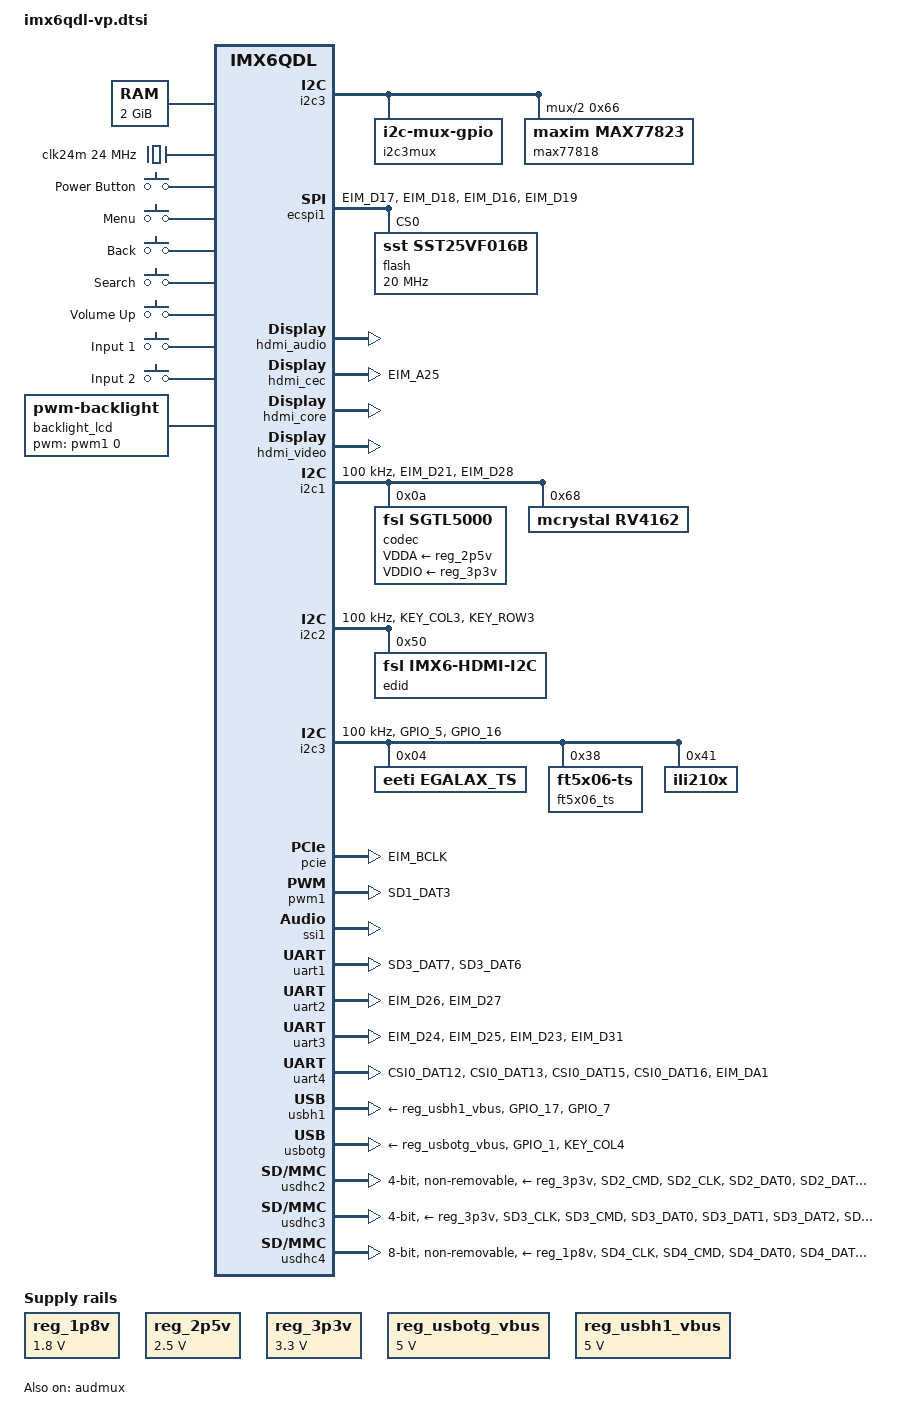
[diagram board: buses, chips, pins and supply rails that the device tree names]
/*
 * Copyright 2013 Boundary Devices
 * Copyright 2012 Freescale Semiconductor, Inc.
 * Copyright 2011 Linaro Ltd.
 *
 * The code contained herein is licensed under the GNU General Public
 * License. You may obtain a copy of the GNU General Public License
 * Version 2 or later at the following locations:
 *
 * http://www.opensource.org/licenses/gpl-license.html
 * http://www.gnu.org/copyleft/gpl.html
 */
#include <dt-bindings/gpio/gpio.h>
#include <dt-bindings/input/input.h>

/ {
	aliases {
		backlight_lcd = &backlight_lcd;
		fb_hdmi = &fb_hdmi;
		fb_lcd = &fb_lcd;
		lcd = &lcd;
		mmc0 = &usdhc3;
		mmc1 = &usdhc4;
		mmc2 = &usdhc2;
		mxcfb0 = &fb_hdmi;
		mxcfb1 = &fb_lcd;
		pwm_lcd = &pwm1;
	};

	memory {
		reg = <0x10000000 0x80000000>;
	};

	clocks {
		clk24m: clk24m {
			compatible = "fixed-clock";
			#clock-cells = <0>;
			clock-frequency = <24000000>;
		};
	};

	regulators {
		compatible = "simple-bus";

		reg_1p8v: 1p8v {
			compatible = "regulator-fixed";
			regulator-name = "1P8V";
			regulator-min-microvolt = <1800000>;
			regulator-max-microvolt = <1800000>;
			regulator-always-on;
		};

		reg_2p5v: 2p5v {
			compatible = "regulator-fixed";
			regulator-name = "2P5V";
			regulator-min-microvolt = <2500000>;
			regulator-max-microvolt = <2500000>;
			regulator-always-on;
		};

		reg_3p3v: 3p3v {
			compatible = "regulator-fixed";
			regulator-name = "3P3V";
			regulator-min-microvolt = <3300000>;
			regulator-max-microvolt = <3300000>;
			regulator-always-on;
		};

		reg_usbotg_vbus: usbotg_vbus {
			compatible = "regulator-fixed";
			regulator-name = "usb_otg_vbus";
			regulator-min-microvolt = <5000000>;
			regulator-max-microvolt = <5000000>;
		};

		reg_usbh1_vbus: usbh1_vbus {
			compatible = "regulator-fixed";
			regulator-name = "usb_h1_vbus";
			regulator-min-microvolt = <5000000>;
			regulator-max-microvolt = <5000000>;
		};
	};

	gpio_keys: gpio_keysgrp {
		compatible = "gpio-keys";
	};

	sound_sgtl5000: sound_sgtl5000 {
		compatible = "fsl,imx6q-vp-sgtl5000",
			     "fsl,imx-audio-sgtl5000";
		model = "imx6q-vp-sgtl5000";
		ssi-controller = <&ssi1>;
		audio-codec = <&codec>;
		audio-routing =
			"MIC_IN", "Mic Jack",
			"Mic Jack", "Mic Bias",
			"LINE_IN", "Line In Jack",
			"Headphone Jack", "HP_OUT",
			"Line Out Jack", "LINE_OUT";
		mux-int-port = <1>;
		mux-ext-port = <3>;
	};
	sound-hdmi {
		compatible = "fsl,imx6q-audio-hdmi",
			     "fsl,imx-audio-hdmi";
		model = "imx-audio-hdmi";
		hdmi-controller = <&hdmi_audio>;
	};

	fb_hdmi: fb@0 {
		compatible = "fsl,mxc_sdc_fb";
		disp_dev = "hdmi";
		interface_pix_fmt = "RGB24";
		mode_str ="1920x1080M@60";
		default_bpp = <24>;
		int_clk = <0>;
		late_init = <0>;
		status = "disabled";
	};

	fb_lcd: fb@1 {
		compatible = "fsl,mxc_sdc_fb";
		disp_dev = "lcd";
		interface_pix_fmt = "RGB24";
		mode_str ="480x272MR@60";
		default_bpp = <24>;
		int_clk = <0>;
		late_init = <0>;
		status = "disabled";
	};

	lcd: lcd@0 {
		compatible = "fsl,lcd";
		ipu_id = <0>;
		disp_id = <0>;
		default_ifmt = "RGB565";
		pinctrl-names = "default";
		pinctrl-0 = <&pinctrl_ipu1_di0>;
		status = "okay";
	};

	backlight_lcd: backlight_lcd {
		brightness-levels = <0 1 2 3 4 5 6 7 8 9 10>;
		compatible = "pwm-backlight";
		default-brightness-level = <10>;
		display = <&fb_lcd>;
		pwms = <&pwm1 0 50000>;
	};

	v4l2_out {
		compatible = "fsl,mxc_v4l2_output";
		status = "okay";
	};

	i2c3mux: i2c3muxgrp {
		compatible = "i2c-mux-gpio";
	};

	uart4_gps_rfkill: uart4_gps_rfkill {
		compatible = "net,rfkill-gpio";
	};

	wlan_bt_rfkill: wlan_bt_rfkillgrp {
		compatible = "net,rfkill-gpio";
	};
};

&iomuxc {
	pinctrl-names = "default";
	pinctrl-0 = <&pinctrl_hog>;

	iomuxc_imx6q_vp: iomuxc-imx6q-vpgrp {
		status = "okay";
	};
};

&iomuxc_imx6q_vp {
	pinctrl_hog: hoggrp {
		fsl,pins = <
	/* Main power on, high shuts down system */
#define GP_MAIN_POWER_EN		<&gpio1 19 GPIO_ACTIVE_LOW>
			MX6QDL_PAD_SD1_DAT2__GPIO1_IO19		0x030b0
#define GP_LED_BLUE			<&gpio2 24 GPIO_ACTIVE_HIGH>
			MX6QDL_PAD_EIM_CS1__GPIO2_IO24		0x0b0b0
		>;
	};

	pinctrl_audmux3: audmux3grp {
		fsl,pins = <
			MX6QDL_PAD_CSI0_DAT7__AUD3_RXD  0x130b0
			MX6QDL_PAD_CSI0_DAT4__AUD3_TXC  0x130b0
			MX6QDL_PAD_CSI0_DAT5__AUD3_TXD  0x110b0
			MX6QDL_PAD_CSI0_DAT6__AUD3_TXFS 0x130b0
		>;
	};

	pinctrl_ecspi1: ecspi1grp {
		fsl,pins = <
			MX6QDL_PAD_EIM_D17__ECSPI1_MISO		0x100b1
			MX6QDL_PAD_EIM_D18__ECSPI1_MOSI		0x100b1
			MX6QDL_PAD_EIM_D16__ECSPI1_SCLK		0x100b1
#define GP_ECSPI1_NOR_CS		<&gpio3 19 GPIO_ACTIVE_LOW>
			MX6QDL_PAD_EIM_D19__GPIO3_IO19		0x000b1	/* CS */
		>;
	};

	pinctrl_gpiokeys: gpiokeysgrp {
		fsl,pins = <
#define GP_MAIN_POWER_BUTTON		<&gpio1 2 GPIO_ACTIVE_LOW>
			MX6QDL_PAD_GPIO_2__GPIO1_IO02		0x0b0b0
#define GP_MENU				<&gpio2 1 GPIO_ACTIVE_LOW>
			MX6QDL_PAD_NANDF_D1__GPIO2_IO01		0x0b0b0
#define GP_BACK				<&gpio4 5 GPIO_ACTIVE_LOW>
			MX6QDL_PAD_GPIO_19__GPIO4_IO05		0x0b0b0
#define GP_SEARCH			<&gpio2 3 GPIO_ACTIVE_LOW>
			MX6QDL_PAD_NANDF_D3__GPIO2_IO03		0x0b0b0
#define GP_VOLUME_UP			<&gpio7 13 GPIO_ACTIVE_LOW>
			MX6QDL_PAD_GPIO_18__GPIO7_IO13		0x0b0b0
#define GP_INPUT1			<&gpio4 8 GPIO_ACTIVE_LOW>
			MX6QDL_PAD_KEY_COL1__GPIO4_IO08		0x0b0b0
#define GP_INPUT2			<&gpio4 9 GPIO_ACTIVE_LOW>
			MX6QDL_PAD_KEY_ROW1__GPIO4_IO09		0x0b0b0
		>;
	};

	pinctrl_hdmi_cec: hdmi_cecgrp {
		fsl,pins = <
			MX6QDL_PAD_EIM_A25__HDMI_TX_CEC_LINE 0x1f8b0
		>;
	};

	pinctrl_i2c1: i2c1grp {
		fsl,pins = <
			MX6QDL_PAD_EIM_D21__I2C1_SCL	0x4001b8b1
			MX6QDL_PAD_EIM_D28__I2C1_SDA	0x4001b8b1
		>;
	};

	pinctrl_i2c2: i2c2grp {
		fsl,pins = <
			MX6QDL_PAD_KEY_COL3__I2C2_SCL	0x4001b8b1
			MX6QDL_PAD_KEY_ROW3__I2C2_SDA	0x4001b8b1
		>;
	};

	pinctrl_i2c3: i2c3grp {
		fsl,pins = <
			MX6QDL_PAD_GPIO_5__I2C3_SCL	0x4001b8b1
			MX6QDL_PAD_GPIO_16__I2C3_SDA	0x4001b8b1
		>;
	};

	pinctrl_i2c3mux: i2c3muxgrp {
		fsl,pins = <
#define GP_I2C3_PCIE_EN			<&gpio2 25 GPIO_ACTIVE_HIGH>
			MX6QDL_PAD_EIM_OE__GPIO2_IO25		0x0b0b0
#define GP_I2C3_MAX77818_EN		<&gpio3 2 GPIO_ACTIVE_HIGH>
			MX6QDL_PAD_EIM_DA2__GPIO3_IO02		0x0b0b0
		>;
	};

	pinctrl_i2c3_max77818: i2c3_max77818grp {
		fsl,pins = <
#define GPIRQ_MAX77818_INOKB		<&gpio3 4 IRQ_TYPE_LEVEL_LOW>
			MX6QDL_PAD_EIM_DA4__GPIO3_IO04		0x1b0b0
#define GPIRQ_MAX77818_WCINOKB		<&gpio3 5 IRQ_TYPE_LEVEL_LOW>
			MX6QDL_PAD_EIM_DA5__GPIO3_IO05		0x1b0b0
#define GPIRQ_MAX77818_INTB		<&gpio3 6 IRQ_TYPE_LEVEL_LOW>
			MX6QDL_PAD_EIM_DA6__GPIO3_IO06		0x1b0b0
		>;
	};

	pinctrl_i2c3_touchscreen: i2c3_touchscreengrp {
		fsl,pins = <
#define GP_TOUCH_RESET	<&gpio2 22 GPIO_ACTIVE_LOW>
			MX6QDL_PAD_EIM_A16__GPIO2_IO22		0x0b0b0
#define GPIRQ_TOUCH			<&gpio2 27 IRQ_TYPE_LEVEL_LOW>
#define GP_TOUCH			<&gpio2 27 GPIO_ACTIVE_LOW>
			MX6QDL_PAD_EIM_LBA__GPIO2_IO27		0x1b0b0
		>;
	};

	pinctrl_ipu1_di0: ipu1_di0grp {
		fsl,pins = <
			MX6QDL_PAD_DI0_DISP_CLK__IPU1_DI0_DISP_CLK 0x10
			MX6QDL_PAD_DI0_PIN15__IPU1_DI0_PIN15       0x10		/* DRDY */
			MX6QDL_PAD_DI0_PIN2__IPU1_DI0_PIN02        0x10		/* HSYNC */
			MX6QDL_PAD_DI0_PIN3__IPU1_DI0_PIN03        0x10		/* VSYNC */
			MX6QDL_PAD_DI0_PIN4__IPU1_DI0_PIN04        0x10		/* Contrast */
			MX6QDL_PAD_DISP0_DAT0__IPU1_DISP0_DATA00   0x10
			MX6QDL_PAD_DISP0_DAT1__IPU1_DISP0_DATA01   0x10
			MX6QDL_PAD_DISP0_DAT2__IPU1_DISP0_DATA02   0x10
			MX6QDL_PAD_DISP0_DAT3__IPU1_DISP0_DATA03   0x10
			MX6QDL_PAD_DISP0_DAT4__IPU1_DISP0_DATA04   0x10
			MX6QDL_PAD_DISP0_DAT5__IPU1_DISP0_DATA05   0x10
			MX6QDL_PAD_DISP0_DAT6__IPU1_DISP0_DATA06   0x10
			MX6QDL_PAD_DISP0_DAT7__IPU1_DISP0_DATA07   0x10
			MX6QDL_PAD_DISP0_DAT8__IPU1_DISP0_DATA08   0x10
			MX6QDL_PAD_DISP0_DAT9__IPU1_DISP0_DATA09   0x10
			MX6QDL_PAD_DISP0_DAT10__IPU1_DISP0_DATA10  0x10
			MX6QDL_PAD_DISP0_DAT11__IPU1_DISP0_DATA11  0x10
			MX6QDL_PAD_DISP0_DAT12__IPU1_DISP0_DATA12  0x10
			MX6QDL_PAD_DISP0_DAT13__IPU1_DISP0_DATA13  0x10
			MX6QDL_PAD_DISP0_DAT14__IPU1_DISP0_DATA14  0x10
			MX6QDL_PAD_DISP0_DAT15__IPU1_DISP0_DATA15  0x10
			MX6QDL_PAD_DISP0_DAT16__IPU1_DISP0_DATA16  0x10
			MX6QDL_PAD_DISP0_DAT17__IPU1_DISP0_DATA17  0x10
			MX6QDL_PAD_DISP0_DAT18__IPU1_DISP0_DATA18  0x10
			MX6QDL_PAD_DISP0_DAT19__IPU1_DISP0_DATA19  0x10
			MX6QDL_PAD_DISP0_DAT20__IPU1_DISP0_DATA20  0x10
			MX6QDL_PAD_DISP0_DAT21__IPU1_DISP0_DATA21  0x10
			MX6QDL_PAD_DISP0_DAT22__IPU1_DISP0_DATA22  0x10
			MX6QDL_PAD_DISP0_DAT23__IPU1_DISP0_DATA23  0x10
			>;
		};

	pinctrl_pcie: pciegrp {
		fsl,pins = <
#define GP_PCIE_RESET			<&gpio6 31 GPIO_ACTIVE_LOW>
			MX6QDL_PAD_EIM_BCLK__GPIO6_IO31		0x0b0b0
		>;
	};

	pinctrl_pwm1: pwm1grp {
		fsl,pins = <
			MX6QDL_PAD_SD1_DAT3__PWM1_OUT		0x030b0
		>;
	};

	pinctrl_rv4162: rv4162grp {
		fsl,pins = <
#define GPIRQ_RTC_RV4162		<&gpio4 6 IRQ_TYPE_LEVEL_LOW>
			MX6QDL_PAD_KEY_COL0__GPIO4_IO06		0x1b0b0
		>;
	};

	pinctrl_sgtl5000: sgtl5000grp {
		fsl,pins = <
			MX6QDL_PAD_GPIO_0__CCM_CLKO1		0x000b0		/* sys_mclk */
#define GP_SGTL5000_MUTE		<&gpio1 29 GPIO_ACTIVE_LOW>
			MX6QDL_PAD_ENET_TXD1__GPIO1_IO29	0x030b0
#define GP_HEADPHONE_DET		<&gpio4 7 GPIO_ACTIVE_LOW>
			MX6QDL_PAD_KEY_ROW0__GPIO4_IO07		0x1b0b0
#define GP_LINE_IN_JACK_DETECT		<&gpio1 17 GPIO_ACTIVE_LOW>
			MX6QDL_PAD_SD1_DAT1__GPIO1_IO17		0x1b0b0
#define GP_MIC_DETECT			<&gpio7 8 GPIO_ACTIVE_LOW>
			MX6QDL_PAD_SD3_RST__GPIO7_IO08		0x1b0b0
		>;
	};

	pinctrl_uart1: uart1grp {
		fsl,pins = <
			MX6QDL_PAD_SD3_DAT7__UART1_TX_DATA	0x1b0b1
			MX6QDL_PAD_SD3_DAT6__UART1_RX_DATA	0x1b0b1
		>;
	};

	pinctrl_uart2: uart2grp {
		fsl,pins = <
			MX6QDL_PAD_EIM_D26__UART2_TX_DATA	0x1b0b1
			MX6QDL_PAD_EIM_D27__UART2_RX_DATA	0x1b0b1
		>;
	};

	pinctrl_uart3: uart3grp {
		/* Bluetooth */
		fsl,pins = <
			MX6QDL_PAD_EIM_D24__UART3_TX_DATA	0x1b0b1
			MX6QDL_PAD_EIM_D25__UART3_RX_DATA	0x1b0b1
			MX6QDL_PAD_EIM_D23__UART3_CTS_B		0x1b0b1
			MX6QDL_PAD_EIM_D31__UART3_RTS_B		0x1b0b1
		>;
	};

	pinctrl_uart4: uart4grp {
		/* GPS */
		fsl,pins = <
			MX6QDL_PAD_CSI0_DAT12__UART4_TX_DATA	0x1b0b1
			MX6QDL_PAD_CSI0_DAT13__UART4_RX_DATA	0x1b0b1
#define GP_GPS_IRQ			<&gpio6 1 IRQ_TYPE_LEVEL_LOW>
			MX6QDL_PAD_CSI0_DAT15__GPIO6_IO01	0x1b0b0
#define GP_GPS_HEARTBEAT		<&gpio6 2 GPIO_ACTIVE_LOW>
			MX6QDL_PAD_CSI0_DAT16__GPIO6_IO02	0x1b0b0
#define GP_GPS_ANT_ON			<&gpio3 1 GPIO_ACTIVE_HIGH>
			MX6QDL_PAD_EIM_DA1__GPIO3_IO01		0x0b0b0
		>;
	};

	pinctrl_uart4_gps_rfkill: uart4_gps_rfkillgrp {
		/* GPS */
		fsl,pins = <
#define GP_GPS_RESET			<&gpio6 0 GPIO_ACTIVE_LOW>
			MX6QDL_PAD_CSI0_DAT14__GPIO6_IO00	0x0b8b0
		>;
	};

	pinctrl_usbh1: usbh1grp {
		fsl,pins = <
#define GP_USB_HUB_RESET		<&gpio7 12 GPIO_ACTIVE_LOW>
			MX6QDL_PAD_GPIO_17__GPIO7_IO12		0x030b0
#define GP_5V_EN			<&gpio1 7 GPIO_ACTIVE_HIGH>		/* usb and hdmi 5v*/
			MX6QDL_PAD_GPIO_7__GPIO1_IO07		0x030b0
		>;
	};

	pinctrl_usbh1_vbus: usbh1_vbusgrp {
		fsl,pins = <
			/* power enable, high active */
#define GP_USB_DN1_PWR_EN		<&gpio1 4 GPIO_ACTIVE_HIGH>
			MX6QDL_PAD_GPIO_4__GPIO1_IO04		0x030b0
		>;
	};

	pinctrl_usbotg: usbotggrp {
		fsl,pins = <
			MX6QDL_PAD_GPIO_1__USB_OTG_ID	0x17059
			MX6QDL_PAD_KEY_COL4__USB_OTG_OC	0x1b0b0
		>;
	};

	pinctrl_usbotg_vbus: usbotg_vbusgrp {
		fsl,pins = <
			/* power enable, high active */
#define GP_USB_OTG_PWR		<&gpio3 22 GPIO_ACTIVE_HIGH>
			MX6QDL_PAD_EIM_D22__GPIO3_IO22  0x030b0
		>;
	};

	/* USDHC2:  Broadcom Wifi */
	pinctrl_usdhc2_50mhz: usdhc2_50mhzgrp {
		fsl,pins = <
			MX6QDL_PAD_SD2_CMD__SD2_CMD		0x17031
			MX6QDL_PAD_SD2_CLK__SD2_CLK		0x10031
			MX6QDL_PAD_SD2_DAT0__SD2_DATA0		0x17031
			MX6QDL_PAD_SD2_DAT1__SD2_DATA1		0x17031
			MX6QDL_PAD_SD2_DAT2__SD2_DATA2		0x17031
			MX6QDL_PAD_SD2_DAT3__SD2_DATA3		0x17031
#define GP_BRM_WL_WAKE_IRQ		<&gpio6 11 IRQ_TYPE_LEVEL_LOW>
			MX6QDL_PAD_NANDF_CS0__GPIO6_IO11	0x1b0b0
#define GP_BRM_CLOCK_REQUEST		<&gpio6 9 GPIO_ACTIVE_HIGH>
			MX6QDL_PAD_NANDF_WP_B__GPIO6_IO09	0x0b0b0
#define GP_BRM_WL_EN			<&gpio6 7 GPIO_ACTIVE_HIGH>
			MX6QDL_PAD_NANDF_CLE__GPIO6_IO07	0x0b0b0
			MX6QDL_PAD_SD1_CLK__OSC32K_32K_OUT	0x000b0		/* slow clock */
		>;
	};

	/* USDHC3 - micro sd */
	pinctrl_usdhc3_50mhz: usdhc3_50mhzgrp {
		fsl,pins = <
			MX6QDL_PAD_SD3_CLK__SD3_CLK		0x10031
			MX6QDL_PAD_SD3_CMD__SD3_CMD		0x17031
			MX6QDL_PAD_SD3_DAT0__SD3_DATA0		0x17031
			MX6QDL_PAD_SD3_DAT1__SD3_DATA1		0x17031
			MX6QDL_PAD_SD3_DAT2__SD3_DATA2		0x17031
			MX6QDL_PAD_SD3_DAT3__SD3_DATA3		0x17031
#define GP_SD3_CD			<&gpio7 0 GPIO_ACTIVE_LOW>
			MX6QDL_PAD_SD3_DAT5__GPIO7_IO00 0x1b0b0	/* CD */
		>;
	};

	pinctrl_usdhc3_100mhz: usdhc3_100mhzgrp {
		fsl,pins = <
			MX6QDL_PAD_SD3_CLK__SD3_CLK		0x100b9
			MX6QDL_PAD_SD3_CMD__SD3_CMD		0x170b9
			MX6QDL_PAD_SD3_DAT0__SD3_DATA0		0x170b9
			MX6QDL_PAD_SD3_DAT1__SD3_DATA1		0x170b9
			MX6QDL_PAD_SD3_DAT2__SD3_DATA2		0x170b9
			MX6QDL_PAD_SD3_DAT3__SD3_DATA3		0x170b9
		>;
	};

	pinctrl_usdhc3_200mhz: usdhc3_200mhzgrp {
		fsl,pins = <
			MX6QDL_PAD_SD3_CLK__SD3_CLK		0x100f9
			MX6QDL_PAD_SD3_CMD__SD3_CMD		0x170f9
			MX6QDL_PAD_SD3_DAT0__SD3_DATA0		0x170f9
			MX6QDL_PAD_SD3_DAT1__SD3_DATA1		0x170f9
			MX6QDL_PAD_SD3_DAT2__SD3_DATA2		0x170f9
			MX6QDL_PAD_SD3_DAT3__SD3_DATA3		0x170f9
		>;
	};

	pinctrl_usdhc4_50mhz: usdhc4_50mhzgrp {
		fsl,pins = <
			MX6QDL_PAD_SD4_CLK__SD4_CLK		0x10031
			MX6QDL_PAD_SD4_CMD__SD4_CMD		0x17031
			MX6QDL_PAD_SD4_DAT0__SD4_DATA0		0x17031
			MX6QDL_PAD_SD4_DAT1__SD4_DATA1		0x17031
			MX6QDL_PAD_SD4_DAT2__SD4_DATA2		0x17031
			MX6QDL_PAD_SD4_DAT3__SD4_DATA3		0x17031
			MX6QDL_PAD_SD4_DAT4__SD4_DATA4		0x17031
			MX6QDL_PAD_SD4_DAT5__SD4_DATA5		0x17031
			MX6QDL_PAD_SD4_DAT6__SD4_DATA6		0x17031
			MX6QDL_PAD_SD4_DAT7__SD4_DATA7		0x17031
#define GP_EMMC_RESET	<&gpio2 6 GPIO_ACTIVE_LOW>
			MX6QDL_PAD_NANDF_D6__GPIO2_IO06		0x1b0b0
		>;
	};

	pinctrl_usdhc4_100mhz: usdhc4_100mhzgrp {
		fsl,pins = <
			MX6QDL_PAD_SD4_CLK__SD4_CLK		0x100b9
			MX6QDL_PAD_SD4_CMD__SD4_CMD		0x170b9
			MX6QDL_PAD_SD4_DAT0__SD4_DATA0		0x170b9
			MX6QDL_PAD_SD4_DAT1__SD4_DATA1		0x170b9
			MX6QDL_PAD_SD4_DAT2__SD4_DATA2		0x170b9
			MX6QDL_PAD_SD4_DAT3__SD4_DATA3		0x170b9
			MX6QDL_PAD_SD4_DAT4__SD4_DATA4		0x170b9
			MX6QDL_PAD_SD4_DAT5__SD4_DATA5		0x170b9
			MX6QDL_PAD_SD4_DAT6__SD4_DATA6		0x170b9
			MX6QDL_PAD_SD4_DAT7__SD4_DATA7		0x170b9
		>;
	};

	pinctrl_usdhc4_200mhz: usdhc4_200mhzgrp {
		fsl,pins = <
			MX6QDL_PAD_SD4_CLK__SD4_CLK		0x100f9
			MX6QDL_PAD_SD4_CMD__SD4_CMD		0x170f9
			MX6QDL_PAD_SD4_DAT0__SD4_DATA0		0x170f9
			MX6QDL_PAD_SD4_DAT1__SD4_DATA1		0x170f9
			MX6QDL_PAD_SD4_DAT2__SD4_DATA2		0x170f9
			MX6QDL_PAD_SD4_DAT3__SD4_DATA3		0x170f9
			MX6QDL_PAD_SD4_DAT4__SD4_DATA4		0x170f9
			MX6QDL_PAD_SD4_DAT5__SD4_DATA5		0x170f9
			MX6QDL_PAD_SD4_DAT6__SD4_DATA6		0x170f9
			MX6QDL_PAD_SD4_DAT7__SD4_DATA7		0x170f9
		>;
	};

	pinctrl_wlan_bt_rfkill: wlan_bt_rfkillgrp {
		fsl,pins = <
#define GP_BRM_BT_RESET			<&gpio6 8 GPIO_ACTIVE_LOW>
			MX6QDL_PAD_NANDF_ALE__GPIO6_IO08	0x0b0b0		/* BT reset(Broadcom) */
#define GP_BRM_BT_SHUTDOWN		<&gpio6 15 GPIO_ACTIVE_LOW>
			MX6QDL_PAD_NANDF_CS2__GPIO6_IO15	0x030b0		/* BT reg en(Broadcom) */
#define GP_BRM_BT_WAKE_IRQ		<&gpio2 7 IRQ_TYPE_LEVEL_LOW>
			MX6QDL_PAD_NANDF_D7__GPIO2_IO07		0x1b0b0
#define GP_BRM_BT_WAKEUP		<&gpio6 16 GPIO_ACTIVE_HIGH>
			MX6QDL_PAD_NANDF_CS3__GPIO6_IO16	0x0f0b0
		>;
	};
};

&audmux {
	pinctrl-names = "default";
	pinctrl-0 = <&pinctrl_audmux3>;
	status = "okay";
};

&ecspi1 {
	fsl,spi-num-chipselects = <1>;
	cs-gpios = GP_ECSPI1_NOR_CS;
	pinctrl-names = "default";
	pinctrl-0 = <&pinctrl_ecspi1>;
	status = "okay";

	flash: m25p80@0 {
		compatible = "sst,sst25vf016b";
		spi-max-frequency = <20000000>;
		reg = <0>;
		#address-cells = <1>;
		#size-cells = <1>;
		mtd@00000000 {
			label = "U-Boot";
			reg = <0x0 0xC0000>;
		};

		mtd@000C0000 {
			label = "env";
			reg = <0xC0000 0x2000>;
		};
		mtd@000C2000 {
			label = "splash";
			reg = <0xC2000 0x13e000>;
		};
	};
};

&gpio_keys {
	pinctrl-names = "default";
	pinctrl-0 = <&pinctrl_gpiokeys>;
	power {
		label = "Power Button";
		gpios = GP_MAIN_POWER_BUTTON;
		linux,code = <KEY_POWER>;
		gpio-key,wakeup;
	};

	menu {
		label = "Menu";
		gpios = GP_MENU;
		linux,code = <KEY_MENU>;
	};

	back {
		label = "Back";
		gpios = GP_BACK;
		linux,code = <KEY_BACK>;
	};

	search {
		label = "Search";
		gpios = GP_SEARCH;
		linux,code = <KEY_SEARCH>;
	};

	volume-up {
		label = "Volume Up";
		gpios = GP_VOLUME_UP;
		linux,code = <KEY_VOLUMEUP>;
	};

	input1 {
		label = "Input 1";
		gpios = GP_INPUT1;
		linux,code = <KEY_VOLUMEUP>;
	};

	input2 {
		label = "Input 2";
		gpios = GP_INPUT2;
		linux,code = <KEY_VOLUMEDOWN>;
	};
};

&hdmi_audio {
	status = "okay";
};

&hdmi_cec {
	pinctrl-names = "default";
	pinctrl-0 = <&pinctrl_hdmi_cec>;
	status = "okay";
};

&hdmi_core {
	ipu_id = <1>;
	disp_id = <0>;
	status = "okay";
};

&hdmi_video {
	fsl,phy_reg_vlev = <0x0294>;
	fsl,phy_reg_cksymtx = <0x800d>;
	status = "okay";
};

&i2c1 {
	clock-frequency = <100000>;
	pinctrl-names = "default";
	pinctrl-0 = <&pinctrl_i2c1>;
	status = "okay";

	codec: sgtl5000@0a {
		compatible = "fsl,sgtl5000";
		pinctrl-names = "default";
		pinctrl-0 = <&pinctrl_sgtl5000>;
		reg = <0x0a>;
		clocks = <&clks IMX6QDL_CLK_CKO>;
		VDDA-supply = <&reg_2p5v>;
		VDDIO-supply = <&reg_3p3v>;
	};
	rv4162@68 {
		compatible = "mcrystal,rv4162";
		pinctrl-names = "default";
		pinctrl-0 = <&pinctrl_rv4162>;
		reg = <0x68>;
		interrupts-extended = GPIRQ_RTC_RV4162;
	};
};

&i2c2 {
	clock-frequency = <100000>;
	pinctrl-names = "default";
	pinctrl-0 = <&pinctrl_i2c2>;
	status = "okay";

	edid@50 {
		compatible = "fsl,imx6-hdmi-i2c";
		reg = <0x50>;
	};
};

&i2c3 {
        clock-frequency = <100000>;
        pinctrl-names = "default";
        pinctrl-0 = <&pinctrl_i2c3>;
        status = "okay";

        egalax_ts@04 {
                compatible = "eeti,egalax_ts";
                reg = <0x04>;
		interrupts-extended = GPIRQ_TOUCH;
		wakeup-gpios = GP_TOUCH;
        };

        ft5x06_ts@38 {
		compatible = "ft5x06-ts";
		reg = <0x38>;
		interrupts-extended = GPIRQ_TOUCH;
		wakeup-gpios = GP_TOUCH;
	};

        ili210x@41 {
		compatible = "ili210x";
		reg = <0x41>;
		interrupts-extended = GPIRQ_TOUCH;
		wakeup-gpios = GP_TOUCH;
	};
};

&i2c3mux {
	pinctrl-names = "default";
	pinctrl-0 = <&pinctrl_i2c3mux>;
	#address-cells = <1>;
	#size-cells = <0>;

	mux-gpios = GP_I2C3_PCIE_EN, GP_I2C3_MAX77818_EN;

	i2c-parent = <&i2c3>;
	idle-state = <0>;

	i2c3a: i2c3@1 {
		/* PCIe */
		reg = <1>;
		#address-cells = <1>;
		#size-cells = <0>;
	};

	i2c3b: i2c3@2 {
		/* MAX77818 */		
		reg = <2>;
		#address-cells = <1>;
		#size-cells = <0>;
	};
};

&i2c3b {
	max77818@66 {
		compatible = "maxim,max77823";
		pinctrl-names = "default";
		pinctrl-0 = <&pinctrl_i2c3_max77818>;
		reg = <0x66>;
		interrupts-extended = GPIRQ_MAX77818_INTB;
		max77823,irq-gpio = GPIRQ_MAX77818_INTB;
		max77823,wakeup = <1>;
		max77823_battery: battery {
			compatible = "samsung,sec-battery";
		};

		max77823_charger: charger {
			compatible = "samsung,max77823-charger";
		};

		max77823_fuelgauge: fuelgauge {
			compatible = "samsung,max77823-fuelgauge";
		};
	};
};

&max77823_battery {
	status = "okay";
	battery,vendor = "SDI SDI";
	battery,charger_name = "max77823-charger";
	battery,fuelgauge_name = "max77823-fuelgauge";
	battery,technology = <2>; /* POWER_SUPPLY_TECHNOLOGY_LION */
	battery,bat_irq_attr = <0x3>;

	battery,chip_vendor = "QCOM";
	battery,temp_adc_type = <1>; /* SEC_BATTERY_ADC_TYPE_AP */

	battery,polling_time = <10 30 30 30 3600>;

	battery,adc_check_count = <6>;

	/* SEC_BATTERY_CABLE_CHECK_PSY | SEC_BATTERY_CABLE_CHECK_NOINCOMPATIBLECHARGE */
	battery,cable_check_type = <6>;
	battery,cable_source_type = <1>; /* SEC_BATTERY_CABLE_SOURCE_EXTERNAL */
	battery,event_check;
	battery,event_waiting_time = <600>;
	battery,polling_type = <1>; /* SEC_BATTERY_MONITOR_ALARM */
	battery,monitor_initial_count = <3>;

	battery,battery_check_type = <6>; /* SEC_BATTERY_CHECK_INT */
	battery,check_count = <0>;
	battery,check_adc_max = <1440>;
	battery,check_adc_min = <0>;

	battery,ovp_uvlo_check_type = <3>; /* SEC_BATTERY_OVP_UVLO_CHGPOLLING */

	battery,thermal_source = <0>; /* SEC_BATTERY_THERMAL_SOURCE_FG */

	battery,temp_check_type = <2>; /* _BATTERY_TEMP_CHECK_TEMP */
	battery,temp_check_count = <1>;
	battery,full_check_type = <7>; /* SEC_BATTERY_FULLCHARGED_CHGPSY */
	battery,full_check_type_2nd = <3>; /* SEC_BATTERY_FULLCHARGED_TIME */
	battery,full_check_count = <1>;
	battery,chg_gpio_full_check = <0>;
	battery,chg_polarity_full_check = <1>;

	/* SEC_BATTERY_FULL_CONDITION_SOC |
	   SEC_BATTERY_FULL_CONDITION_NOTIMEFULL |
	   SEC_BATTERY_FULL_CONDITION_VCELL */
	battery,full_condition_type = <13>;
	battery,full_condition_soc = <97>;
	battery,full_condition_vcell = <4350000>;

	battery,recharge_check_count = <1>;
	battery,recharge_condition_type = <4>; /* SEC_BATTERY_RECHARGE_CONDITION_VCELL */
	battery,recharge_condition_soc = <98>;
	battery,recharge_condition_vcell = <4350000>;

	battery,charging_total_time = <21600>;
	battery,recharging_total_time = <5400>;
	battery,charging_reset_time = <0>;
};

&max77823_charger {
	battery,charger_name = "max77823-charger";
	battery,chg_gpio_en = <0>;
	battery,chg_polarity_en = <0>;
	battery,chg_gpio_status = <0>;
	battery,chg_polarity_status = <0>;
	battery,chg_float_voltage = <4400>;
	battery,ovp_uvlo_check_type = <3>; /* SEC_BATTERY_OVP_UVLO_CHGPOLLING */
	battery,full_check_type = <7>; /* SEC_BATTERY_FULLCHARGED_CHGPSY */

	battery,input_current_limit    = <1800 460  460 4000  460  900 1000  460 460 1000  760 1800 1800 460 1300  300  700 1300 1800  300   80 1800 460 1000 1633 1000 1000 4000>;
	battery,fast_charging_current  = <2100   0  460 2100  460 1200 1000  460   0 1200  900 2100 2100   0 1300  300  700 1300 1800  300   80 2100   0 1000 2800 1000 1000 1000>;
	battery,full_check_current_1st = <200    0  200  200  200  200  200  200   0  200  200  200  200   0  200  200  200  200  200  200  200  200   0  200  200  200  200  200>;
	battery,full_check_current_2nd = <2400   0 2400 2400 2400 2400 2400 2400   0 2400 2400 2400 2400   0 2400 2400 2400 2400 2400 2400 2400 2400   0 2400 2400 2400 2400 2400>;
	usbotg-supply = <&reg_usbotg_vbus>;
};

&max77823_fuelgauge {
	compatible = "samsung,max77823-fuelgauge";
	fuelgauge,capacity_max = <990>;
	fuelgauge,capacity_max_margin = <50>;
	fuelgauge,capacity_min = <0>;
	fuelgauge,capacity_calculation_type = <0x17>;
	fuelgauge,fuel_alert_soc = <1>;
	empty_detect_voltage = <2900>;
	empty_recovery_voltage = <3100>;
	/* fuelgauge,repeated_fuelalert; */
	temp-calibration = <0 (-6763) 9858>;
	/* if temp-calibration defined, temp-calibration-data not used */
	temp-calibration-data = <250 0x7cde
				 255 0x7c50
				 260 0x7aa0
				 265 0x792e
				 270 0x788e
				 275 0x7714
				 280 0x761a
				 285 0x7536
				 290 0x73ca
				 295 0x7326
				 300 0x726c
				 305 0x71cc
				 310 0x71b2
				 315 0x70a4
				 320 0x6f6a
				 325 0x6eae
				 330 0x6a2e
				 335 0x6800
				 340 0x673c
				 345 0x665a
				 350 0x65b4
				 355 0x6478
				 360 0x6318
				 365 0x6270
				 370 0x614e
				 375 0x5f56
				 380 0x5ed2
				 385 0x5d9e
				 390 0x5b38
				 395 0x5ae0
				 400 0x59ce
				 405 0x57b2
				 410 0x55f2
				 415 0x53c2
				 420 0x505a>;
};

&pcie {
	pinctrl-names = "default";
	pinctrl-0 = <&pinctrl_pcie>;
	reset-gpios = GP_PCIE_RESET;
	status = "okay";
};

&pwm1 {
	pinctrl-names = "default";
	pinctrl-0 = <&pinctrl_pwm1>;
	status = "okay";
};

&ssi1 {
	fsl,mode = "i2s-slave";
	status = "okay";
};

&reg_usbh1_vbus {
	gpio = GP_USB_DN1_PWR_EN;
	enable-active-high;
	pinctrl-names = "default";
	pinctrl-0 = <&pinctrl_usbh1_vbus>;
};

&reg_usbotg_vbus {
	gpio = GP_USB_OTG_PWR;
	enable-active-high;
	pinctrl-names = "default";
	pinctrl-0 = <&pinctrl_usbotg_vbus>;
};

&sound_sgtl5000 {
	line-out-mute-gpios = GP_SGTL5000_MUTE;
};

&uart1 {
	pinctrl-names = "default";
	pinctrl-0 = <&pinctrl_uart1>;
	status = "okay";
};

&uart2 {
	pinctrl-names = "default";
	pinctrl-0 = <&pinctrl_uart2>;
	status = "okay";
};

&uart3 {
	pinctrl-names = "default";
	pinctrl-0 = <&pinctrl_uart3>;
	fsl,uart-has-rtscts;
	status = "okay";
};

&uart4 {
	pinctrl-names = "default";
	pinctrl-0 = <&pinctrl_uart4>;
	fsl,uart-has-rtscts;
	status = "okay";
};

&uart4_gps_rfkill {
	pinctrl-names = "default";
	pinctrl-0 = <&pinctrl_uart4_gps_rfkill>;
	type = <6>;	/* gps */
	gpios = GP_GPS_RESET;
};

&usbh1 {
	pinctrl-names = "default";
	pinctrl-0 = <&pinctrl_usbh1>;
	reset-gpios = GP_USB_HUB_RESET;
	vbus-supply = <&reg_usbh1_vbus>;
	status = "okay";
};

&usbotg {
	vbus-supply = <&reg_usbotg_vbus>;
	pinctrl-names = "default";
	pinctrl-0 = <&pinctrl_usbotg>;
	disable-over-current;
	status = "okay";
};

&usdhc2 {	/* uSDHC2, Broadcom */
	pinctrl-names = "default";
	pinctrl-0 = <&pinctrl_usdhc2_50mhz>;
	bus-width = <4>;
	non-removable;
	vmmc-supply = <&reg_3p3v>;
	vqmmc-1-8-v;
	power-gpio = GP_BRM_WL_EN;
	cap-power-off-card;
	keep-power-in-suspend;
	status = "okay";
};

&usdhc3 {
	pinctrl-names = "default";
	pinctrl-0 = <&pinctrl_usdhc3_50mhz>;
	bus-width = <4>;
	cd-gpios = GP_SD3_CD;
	vmmc-supply = <&reg_3p3v>;
	status = "okay";
};

&usdhc4 {
	pinctrl-names = "default";
	pinctrl-0 = <&pinctrl_usdhc4_50mhz>;
	bus-width = <8>;
	non-removable;
	vqmmc-1-8-v;
	vmmc-supply = <&reg_1p8v>;
	keep-power-in-suspend;
	status = "okay";
};

&wlan_bt_rfkill {
	pinctrl-names = "default";
	pinctrl-0 = <&pinctrl_wlan_bt_rfkill>;
	type = <2>;	/* bluetooth */
	reset-gpios = GP_BRM_BT_RESET;
	shutdown-gpios = GP_BRM_BT_SHUTDOWN;
};
